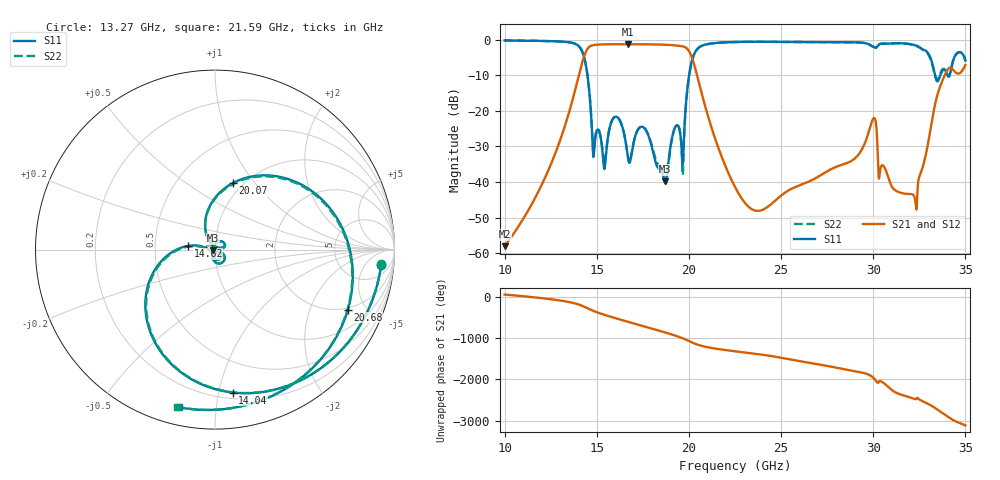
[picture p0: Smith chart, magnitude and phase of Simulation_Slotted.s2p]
! TOUCHSTONE file generated by CST MICROWAVE STUDIO
! Date and time: Tue Oct 16 15:42:50 2018
! Project name: 16.cst
! Parameters = {Copper_W=0.017; Ex=0.6; Ground_U=31.0095; Ground_V=12.3435; Ground_Wmax=0.228; Ground_Wmin=0.211; K=5.22; Mini_Factor=0.1; S_1=0.05; Substrate_U=31.0095; Substrate_V=12.3435; Substrate_W=0.211; V_Mini=0.065; Via_V_Spacing=0.26; Via_Wmax=0.017; Via_Wmin=0.228; Via_radius=0.15; Width_V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
! Header version: 2015
! Port assignment regex: !\s*Touchstone port\s*([0-9]+)\s*=\s*CST MWS port\s*([0-9]+)\s*\(\"(.*)\"\)(\s*mode\s*([0-9]+))?.*
! Touchstone port assignment:
! Touchstone port 1 = CST MWS port 1 ("")
! Touchstone port 2 = CST MWS port 2 ("")
# GHz S RI R 50
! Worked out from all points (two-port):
!   5001 points, 10 GHz to 35 GHz, reference 50 ohm
!   highest |S21| = -1.29 dB at 16.68 GHz (marker M1); lowest = -58.0 dB at 10 GHz (marker M2)
!   |S21| within 3 dB of the highest: 14.34 GHz to 20.11 GHz (5.765 GHz wide, 33.5 % of centre)
!   lowest |S11| = -39.8 dB at 18.71 GHz (marker M3), VSWR 1.02, Z = 49 - j0.326 ohm
!   |S11| at or under -10 dB: 14.49 GHz to 20.01 GHz (5.517 GHz wide, 32 % of centre); 33.35 GHz to 33.64 GHz (285.9 MHz wide, 0.853 % of centre); 34.02955 GHz to 34.14174 GHz (112.2 MHz wide, 0.329 % of centre)
!   |S22| runs from -40.8 to -0.3 dB; largest |S21 - S12| = 0.00022
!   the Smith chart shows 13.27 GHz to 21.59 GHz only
!   S11 on the Smith chart (normalised r, x): 13.27 GHz: 11, -13; 14.04 GHz: 0.25, -1.10; 14.62 GHz: 0.74, +0.03; 20.07 GHz: 0.90, +0.78; 20.68 GHz: 1.90, -3.73; 21.59 GHz: 0.08, -0.79
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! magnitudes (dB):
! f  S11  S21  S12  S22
! 10 GHz  -0.3  -58.0  -58.0  -0.3
! 13.27 GHz  -0.6  -24.3  -24.3  -0.6
! 14.04 GHz  -1.9  -9.9  -9.9  -1.9
! 14.17 GHz  -2.9  -7.2  -7.2  -2.9
! 14.62 GHz  -16.3  -1.9  -1.9  -16.3
! 15.39 GHz  -35.9  -1.3  -1.3  -34.5
! 16.02 GHz  -21.7  -1.3  -1.3  -21.7
! 16.68 GHz  -32.6  -1.3  -1.3  -32.6
! 18.34 GHz  -36.1  -1.4  -1.4  -35.1
! 18.71 GHz  -39.8  -1.5  -1.5  -40.7
! 19.27 GHz  -24.5  -1.6  -1.6  -24.5
! 19.67 GHz  -35.0  -1.9  -1.9  -37.9
! 20.07 GHz  -8.3  -3.8  -3.8  -8.4
! 20.68 GHz  -1.8  -14.8  -14.8  -1.8
! 21.59 GHz  -0.9  -30.4  -30.4  -0.9
! 22.5 GHz  -0.7  -41.4  -41.4  -0.7
! 26.67 GHz  -0.7  -39.5  -39.4  -0.7
! 30.02 GHz  -2.0  -22.1  -22.1  -2.1
! 30.84 GHz  -1.1  -39.1  -39.1  -1.1
! 32.28 GHz  -1.6  -45.4  -45.4  -1.7
! 33.66 GHz  -9.7  -12.8  -12.8  -9.2
! 35 GHz  -5.9  -7.2  -7.2  -5.9
